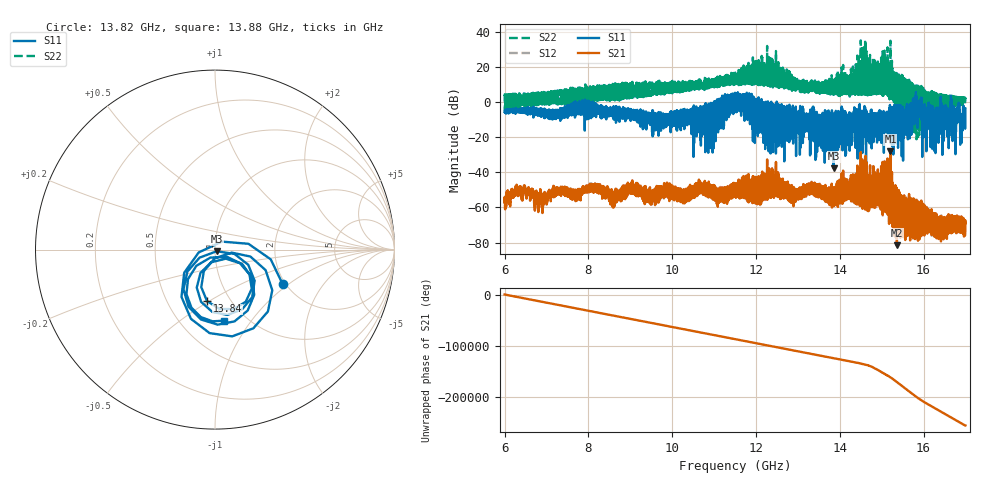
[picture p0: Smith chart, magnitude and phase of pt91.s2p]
#  HZ  S  RI  R  50.00
! Rohde & Schwarz Vector Network Analyzer
! Rohde-Schwarz,ZNA67-2Port,1332450062101215,3.01
! Created: UTC 10/19/2026, 10:57:50 AM
! freq[Hz]  re:S11  im:S11  re:S21  im:S21  re:S12  im:S12  re:S22  im:S22
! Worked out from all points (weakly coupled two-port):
!   11001 points, 6 GHz to 17 GHz, reference 50 ohm
!   highest |S21| = -28.00 dB at 15.21 GHz (marker M1); lowest = -81.4 dB at 15.37 GHz (marker M2)
!   lowest |S11| = -37.7 dB at 13.86 GHz (marker M3), VSWR 1.03, Z = 50.9 - j0.948 ohm
!   |S11| at or under -10 dB: 13.4688 GHz to 13.49482 GHz (26.02 MHz wide, 0.193 % of centre); 13.68896 GHz to 13.71518 GHz (26.22 MHz wide, 0.191 % of centre); 13.92246 GHz to 13.94888 GHz (26.42 MHz wide, 0.19 % of centre) (the widest 3 of 518)
!   |S22| runs from -21.2 to 35.1 dB; largest |S21 - S12| = 0.0025
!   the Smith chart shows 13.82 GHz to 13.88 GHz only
!   S11 on the Smith chart (normalised r, x): 13.82 GHz: 1.93, -0.91; 13.84 GHz: 0.78, -0.49; 13.88 GHz: 0.79, -0.75
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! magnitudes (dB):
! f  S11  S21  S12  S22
! 6 GHz  -5.8  -57.0  -56.8  3.4
! 6.317 GHz  -4.6  -53.5  -53.5  4.3
! 6.858 GHz  -4.4  -53.4  -53.5  0.0
! 7.834 GHz  -3.4  -50.1  -49.9  7.7
! 9.667 GHz  -6.1  -48.2  -48.4  12.0
! 10.87 GHz  -1.8  -54.3  -54.2  8.6
! 11.5 GHz  5.0  -48.9  -49.1  12.7
! 12.9 GHz  -6.4  -59.3  -59.2  6.3
! 13.33 GHz  -12.5  -49.4  -49.3  8.0
! 13.82 GHz  -7.4  -55.5  -55.6  5.3
! 13.84 GHz  -10.7  -51.3  -50.8  12.5
! 13.86 GHz  -37.7  -49.1  -49.4  11.2
! 13.88 GHz  -8.0  -58.3  -58.1  4.7
! 15.17 GHz  -14.7  -60.3  -60.2  6.1
! 15.21 GHz  -4.4  -28.0  -28.0  34.9
! 15.37 GHz  -19.8  -81.4  -82.0  -0.2
! 15.68 GHz  -2.4  -58.1  -58.6  7.0
! 15.8 GHz  -6.3  -78.0  -78.1  -17.0
! 16.23 GHz  -9.1  -65.8  -65.8  2.9
! 16.69 GHz  -15.9  -68.3  -67.3  1.4
! 16.91 GHz  -20.5  -68.7  -68.4  1.9
! 17 GHz  -3.7  -69.0  -69.1  1.7
